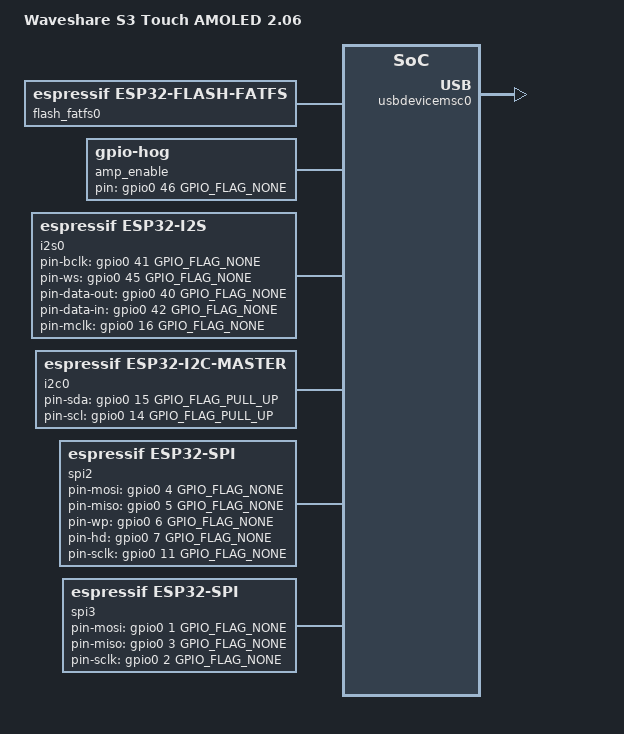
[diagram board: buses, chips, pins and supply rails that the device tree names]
/dts-v1/;

#include <tactility/bindings/root.h>
#include <tactility/bindings/esp32_ble.h>
#include <tactility/bindings/esp32_wifi_pinned.h>
#include <tactility/bindings/esp32_gpio.h>
#include <tactility/bindings/esp32_usbhost.h>
#include <tactility/bindings/esp32_i2c_master.h>
#include <tactility/bindings/esp32_i2s.h>
#include <tactility/bindings/esp32_spi.h>
#include <tactility/bindings/esp32_sdspi.h>
#include <tactility/bindings/esp32_usbdevice.h>
#include <tactility/bindings/gpio_hog.h>
#include <bindings/bm8563.h>
#include <bindings/qmi8658.h>
#include <bindings/axp2101.h>
#include <bindings/ft5x06.h>
#include <bindings/es8311.h>
#include <bindings/es7210.h>
#include <bindings/sh8601.h>
#include <bindings/sh8601_backlight.h>
#include <tactility/bindings/esp32_flash_fatfs.h>

// Reference: https://www.waveshare.com/wiki/ESP32-S3-Touch-AMOLED-2.06
/ {
	compatible = "root";
	model = "Waveshare S3 Touch AMOLED 2.06";

	flash_fatfs0 {
		compatible = "espressif,esp32-flash-fatfs";
		partition-label = "data";
		mount-path = "/data";
	};

	wifi0 {
		compatible = "espressif,esp32-wifi-pinned";
	};

	ble0 {
		compatible = "espressif,esp32-ble";
	};

	gpio0 {
		compatible = "espressif,esp32-gpio";
		gpio-count = <49>;
	};

	// ES8311 speaker amplifier enable, active-high on GPIO46.
	amp_enable {
		compatible = "gpio-hog";
		pin = <&gpio0 46 GPIO_FLAG_NONE>;
		mode = <GPIO_HOG_MODE_OUTPUT_HIGH>;
	};

	// i2s0 must be before i2c0 so the codecs can reference it.
	i2s0 {
		compatible = "espressif,esp32-i2s";
		port = <I2S_NUM_1>;
		pin-bclk = <&gpio0 41 GPIO_FLAG_NONE>;
		pin-ws = <&gpio0 45 GPIO_FLAG_NONE>;
		pin-data-out = <&gpio0 40 GPIO_FLAG_NONE>;
		pin-data-in = <&gpio0 42 GPIO_FLAG_NONE>;
		pin-mclk = <&gpio0 16 GPIO_FLAG_NONE>;
	};

	i2c0 {
		compatible = "espressif,esp32-i2c-master";
		port = <I2C_NUM_0>;
		clock-frequency = <400000>;
		pin-sda = <&gpio0 15 GPIO_FLAG_PULL_UP>;
		pin-scl = <&gpio0 14 GPIO_FLAG_PULL_UP>;

		bm8563 {
			compatible = "belling,bm8563";
			reg = <0x51>;
		};

		qmi8658 {
			compatible = "qst,qmi8658";
			reg = <0x6B>;
			// Maps the sensor frame onto the device frame (Linux IIO "mount-matrix" convention).
			// The QMI8658C is rotated relative to the panel; this matrix is the one calibrated
			// on-device so auto-rotate orients the UI correctly.
			mount-matrix = <0 -1 0
			                1  0 0
			                0  0 1>;
		};

		// Mirrors the board's original power-up register writes: every LDO enabled, with
		// ALDO1 at 1.8V and ALDO2-4 at 3.3V. The BLDO/DLDO rails keep their chip defaults.
		axp2101: axp2101 {
			compatible = "x-powers,axp2101";
			reg = <0x34>;
			aldo1-millivolt = <1800>;
			aldo1-enabled;
			aldo2-millivolt = <3300>;
			aldo2-enabled;
			aldo3-millivolt = <3300>;
			aldo3-enabled;
			aldo4-millivolt = <3300>;
			aldo4-enabled;
			bldo1-enabled;
			bldo2-enabled;
			dldo1-enabled;
			dldo2-enabled;
		};

		// FT3168, register-compatible with the FT5x06.
		touch0 {
			compatible = "focaltech,ft5x06";
			reg = <0x38>;
			x-max = <410>;
			y-max = <502>;
			pin-reset = <&gpio0 9 GPIO_FLAG_NONE>;
			pin-interrupt = <&gpio0 38 GPIO_FLAG_NONE>;
			disable-monitor-timeout;
		};

		es8311: es8311 {
			compatible = "everest,es8311";
			reg = <0x18>;
			i2s = <&i2s0>;
		};

		es7210 {
			compatible = "everest,es7210";
			reg = <0x40>;
			i2s = <&i2s0>;
			// Only MIC1 is wired to a real capsule on this board.
			mic-mask = <1>;
		};
	};

	// AMOLED display on QSPI: CS=12, PCLK=11, D0..D3=4..7, RST=8.
	spi2 {
		compatible = "espressif,esp32-spi";
		host = <SPI2_HOST>;
		cs-gpios = <&gpio0 12 GPIO_FLAG_NONE>;
		pin-mosi = <&gpio0 4 GPIO_FLAG_NONE>;
		pin-miso = <&gpio0 5 GPIO_FLAG_NONE>;
		pin-wp = <&gpio0 6 GPIO_FLAG_NONE>;
		pin-hd = <&gpio0 7 GPIO_FLAG_NONE>;
		pin-sclk = <&gpio0 11 GPIO_FLAG_NONE>;
		max-transfer-size = <65536>;

		display0: display@0 {
			compatible = "shenghe,sh8601";
			horizontal-resolution = <410>;
			vertical-resolution = <502>;
			gap-x = <22>;
			gap-y = <0>;
			pixel-clock-hz = <40000000>;
			pin-reset = <&gpio0 8 GPIO_FLAG_NONE>;

			// The SH8601 has no backlight pin; brightness is a panel command. The driver finds
			// this child device via the display's children, and the backlight uses its parent.
			display_backlight {
				compatible = "sh8601-backlight";
				brightness-default = <255>;
			};
		};
	};

	// SD card on SPI3: CS=17, MOSI=1, MISO=3, SCLK=2.
	spi3 {
		compatible = "espressif,esp32-spi";
		host = <SPI3_HOST>;
		cs-gpios = <&gpio0 17 GPIO_FLAG_NONE>;
		pin-mosi = <&gpio0 1 GPIO_FLAG_NONE>;
		pin-miso = <&gpio0 3 GPIO_FLAG_NONE>;
		pin-sclk = <&gpio0 2 GPIO_FLAG_NONE>;
		max-transfer-size = <4096>;

		sdcard@0 {
			compatible = "espressif,esp32-sdspi";
			frequency-khz = <20000>;
		};
	};

	usbdevice0 {
		compatible = "espressif,esp32-usbdevice";

		usbdevicemsc0 {
			compatible = "espressif,esp32-usbdevice-msc";
		};
	};

	usbhost0 {
		compatible = "espressif,esp32-usbhost";
		status = "disabled";
	};
};
